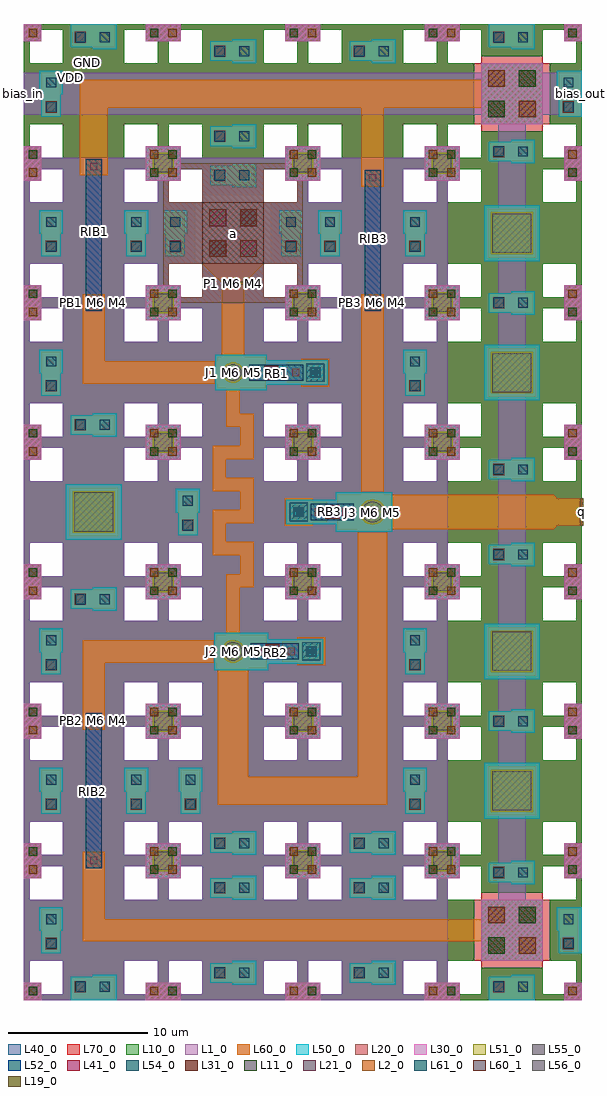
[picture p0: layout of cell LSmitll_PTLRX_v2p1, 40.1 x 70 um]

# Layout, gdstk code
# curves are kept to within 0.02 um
from math import pi, radians
import gdstk
lib = gdstk.Library(unit=1e-6, precision=1e-09)
def R(c, l, rs):  # rectangles x0, y0, x1, y1
    for r in rs: c.add(gdstk.rectangle(r[:2], r[2:], *l))
def P(c, l, *ps):  # polygons
    for p in ps: c.add(gdstk.Polygon(p, *l))
L1_0 = (1, 0)
L2_0 = (2, 0)
L10_0 = (10, 0)
L11_0 = (11, 0)
L19_0 = (19, 0)
L20_0 = (20, 0)
L21_0 = (21, 0)
L30_0 = (30, 0)
L31_0 = (31, 0)
L40_0 = (40, 0)
L41_0 = (41, 0)
L50_0 = (50, 0)
L51_0 = (51, 0)
L52_0 = (52, 0)
L54_0 = (54, 0)
L55_0 = (55, 0)
L56_0 = (56, 0)
L60_0 = (60, 0)
L60_1 = (60, 1)
L61_0 = (61, 0)
L70_0 = (70, 0)

ls_conn_m4m5m6m7 = lib.new_cell('ls_conn_M4M5M6M7')
R(ls_conn_m4m5m6m7, L40_0, [(0,0,1.4,1.4)])
R(ls_conn_m4m5m6m7, L41_0, [(0.3,0.3,1.1,1.1)])
P(ls_conn_m4m5m6m7, L50_0, [(1.6,-0.15),(1.6,0),(0,0),(0,1.4),(1.6,1.4),(1.6,1.55),(3.3,1.55),(3.3,-0.15)])
R(ls_conn_m4m5m6m7, L54_0, [(2.1,0.35,2.8,1.05)])
R(ls_conn_m4m5m6m7, L60_0, [(0,0,3.15,1.4)])
R(ls_conn_m4m5m6m7, L61_0, [(0.35,0.35,1.05,1.05)])
R(ls_conn_m4m5m6m7, L70_0, [(0,0,1.4,1.4)])

ls_conn_m5m6m7 = lib.new_cell('ls_conn_M5M6M7')
R(ls_conn_m5m6m7, L50_0, [(-0.5,-0.5,1.2,1.2)])
R(ls_conn_m5m6m7, L54_0, [(0,0,0.7,0.7)])
R(ls_conn_m5m6m7, L60_0, [(-0.65,-0.65,1.35,1.35)])
R(ls_conn_m5m6m7, L61_0, [(-0.3,-0.3,1,1)])
R(ls_conn_m5m6m7, L70_0, [(-0.65,-0.65,1.35,1.35)])

ls_jj_200_sg = lib.new_cell('ls_jj_200_sg')
R(ls_jj_200_sg, L41_0, [(-0.5,2.325,0.5,3.325)])
R(ls_jj_200_sg, L50_0, [(-1.35,-1.35,1.35,2.525), (-0.875,2.525,0.875,6.45)])
P(ls_jj_200_sg, L51_0, [(0,-0.815),(-0.315,-0.755),(-0.58,-0.575),(-0.755,-0.31),(-0.815,0),(-0.755,0.315),(-0.58,0.58),(-0.315,0.76),(0,0.82),(0.315,0.76),(0.58,0.58),(0.755,0.315),(0.815,0),(0.755,-0.31),(0.58,-0.575),(0.315,-0.755)])
R(ls_jj_200_sg, L52_0, [(-0.575,1.275,0.575,4.7)])
P(ls_jj_200_sg, L55_0, [(0,-0.67),(-0.27,-0.62),(-0.37,-0.56),(-0.57,-0.37),(-0.67,-0.13),(-0.67,0.13),(-0.57,0.37),(-0.27,0.61),(0,0.67),(0.27,0.61),(0.47,0.47),(0.57,0.37),(0.67,0.13),(0.67,-0.13),(0.57,-0.37),(0.27,-0.62)])
R(ls_jj_200_sg, L56_0, [(-0.26,1.54,0.26,2.06), (-0.26,3.91,0.26,4.43)])
R(ls_jj_200_sg, L60_0, [(-1.2,-1.2,1.2,2.425), (-0.725,3.525,0.725,6.3)])
ls_jj_200_sg.add(gdstk.Reference(ls_conn_m5m6m7, (-0.35,5.25)))

ls_fakejj_1p5x1p5um = lib.new_cell('ls_FakeJJ_1p5x1p5um')
R(ls_fakejj_1p5x1p5um, L40_0, [(-1.25,-1.25,1.25,1.25)])
R(ls_fakejj_1p5x1p5um, L50_0, [(-1.25,-1.25,1.25,1.25)])
R(ls_fakejj_1p5x1p5um, L51_0, [(-0.75,-0.75,0.75,0.75)])
R(ls_fakejj_1p5x1p5um, L55_0, [(-0.65,-0.65,0.65,0.65)])
R(ls_fakejj_1p5x1p5um, L60_0, [(-1,-1,1,1)])

ls_jj_162_sg = lib.new_cell('ls_jj_162_sg')
R(ls_jj_162_sg, L41_0, [(-0.5,2.25,0.5,3.25)])
R(ls_jj_162_sg, L50_0, [(-1.275,-1.275,1.275,2.425), (-0.875,2.425,0.875,6.775)])
P(ls_jj_162_sg, L51_0, [(0,-0.74),(-0.285,-0.685),(-0.52,-0.525),(-0.685,-0.285),(-0.74,0),(-0.685,0.28),(-0.52,0.52),(-0.285,0.68),(0,0.735),(0.285,0.68),(0.52,0.52),(0.685,0.28),(0.74,0),(0.685,-0.285),(0.52,-0.525),(0.285,-0.685)])
R(ls_jj_162_sg, L52_0, [(-0.575,1.175,0.575,5.025)])
R(ls_jj_162_sg, L54_0, [(-0.35,5.55,0.35,6.25)])
P(ls_jj_162_sg, L55_0, [(0,-0.59),(-0.23,-0.55),(-0.42,-0.42),(-0.54,-0.23),(-0.59,0),(-0.54,0.22),(-0.42,0.43),(-0.13,0.58),(0,0.59),(0.13,0.58),(0.42,0.43),(0.54,0.22),(0.59,0),(0.54,-0.23),(0.42,-0.42),(0.23,-0.55)])
R(ls_jj_162_sg, L56_0, [(-0.26,1.44,0.26,1.96), (-0.26,4.23,0.26,4.75)])
R(ls_jj_162_sg, L60_0, [(-1.125,-1.125,1.125,2.325), (-0.725,3.85,0.725,6.625)])
ls_jj_162_sg.add(gdstk.Reference(ls_conn_m5m6m7, (-0.35,5.55)))

ls_jj_250_sg = lib.new_cell('ls_jj_250_sg')
R(ls_jj_250_sg, L41_0, [(-0.5,2.4,0.5,3.4)])
R(ls_jj_250_sg, L50_0, [(-1.425,-1.425,1.425,2.625), (-0.875,2.625,0.875,6.175)])
P(ls_jj_250_sg, L51_0, [(0,-0.91),(-0.18,-0.895),(-0.35,-0.84),(-0.645,-0.645),(-0.84,-0.35),(-0.91,0),(-0.895,0.18),(-0.84,0.35),(-0.645,0.645),(-0.35,0.84),(-0.18,0.895),(0,0.91),(0.18,0.895),(0.35,0.84),(0.645,0.645),(0.84,0.35),(0.895,0.18),(0.91,0),(0.84,-0.35),(0.645,-0.645),(0.35,-0.84),(0.18,-0.895)])
R(ls_jj_250_sg, L52_0, [(-0.575,1.35,0.575,4.425)])
R(ls_jj_250_sg, L54_0, [(-0.35,4.95,0.35,5.65)])
P(ls_jj_250_sg, L55_0, [(0,-0.76),(-0.15,-0.75),(-0.29,-0.7),(-0.54,-0.54),(-0.7,-0.29),(-0.75,-0.15),(-0.76,0),(-0.75,0.15),(-0.7,0.29),(-0.54,0.54),(-0.29,0.7),(-0.15,0.75),(0,0.76),(0.15,0.75),(0.29,0.7),(0.54,0.54),(0.7,0.29),(0.75,0.15),(0.76,0),(0.75,-0.15),(0.7,-0.29),(0.54,-0.54),(0.29,-0.7),(0.15,-0.75)])
R(ls_jj_250_sg, L56_0, [(-0.26,1.64,0.26,2.16), (-0.26,3.63,0.26,4.15)])
R(ls_jj_250_sg, L60_0, [(-1.275,-1.275,1.275,2.525), (-0.725,3.25,0.725,6.025)])
ls_jj_250_sg.add(gdstk.Reference(ls_conn_m5m6m7, (-0.35,4.95)))

ls_tr_m0 = lib.new_cell('ls_tr_M0')
P(ls_tr_m0, L1_0, [(0,0),(0,10),(1.25,10),(1.25,8.75),(0.4,8.75),(0.4,1.25),(1.25,1.25),(1.25,0.4),(2.8,0.4),(2.8,2.8),(0.4,2.8),(0.4,7.2),(2.8,7.2),(2.8,9.6),(1.25,9.6),(1.25,10),(7.2,10),(7.2,0.4),(8.75,0.4),(8.75,1.25),(9.6,1.25),(9.6,2.8),(7.2,2.8),(7.2,7.2),(9.6,7.2),(9.6,8.75),(8.75,8.75),(8.75,9.6),(7.2,9.6),(7.2,10),(10,10),(10,0)])

ls_fakejj_3umx3um = lib.new_cell('ls_FakeJJ_3umx3um')
R(ls_fakejj_3umx3um, L40_0, [(-2,-2,2,2)])
R(ls_fakejj_3umx3um, L50_0, [(-2,-2,2,2)])
R(ls_fakejj_3umx3um, L51_0, [(-1.5,-1.5,1.5,1.5)])
R(ls_fakejj_3umx3um, L55_0, [(-1.4,-1.4,1.4,1.4)])
R(ls_fakejj_3umx3um, L60_0, [(-1.75,-1.75,1.75,1.75)])

ls_tr_m7 = lib.new_cell('ls_tr_M7')
P(ls_tr_m7, L70_0, [(0,0),(0,10),(1.25,10),(1.25,8.75),(0.4,8.75),(0.4,1.25),(1.25,1.25),(1.25,0.4),(2.8,0.4),(2.8,2.8),(0.4,2.8),(0.4,7.2),(2.8,7.2),(2.8,9.6),(1.25,9.6),(1.25,10),(7.2,10),(7.2,0.4),(8.75,0.4),(8.75,1.25),(9.6,1.25),(9.6,2.8),(7.2,2.8),(7.2,7.2),(9.6,7.2),(9.6,8.75),(8.75,8.75),(8.75,9.6),(7.2,9.6),(7.2,10),(10,10),(10,0)])

ls_tr_u_m4_alt = lib.new_cell('ls_tr_u_M4_alt')
R(ls_tr_u_m4_alt, L1_0, [(0,0,1.25,1.25), (8.75,0,10,1.25), (0,8.75,1.25,10), (8.75,8.75,10,10)])
R(ls_tr_u_m4_alt, L2_0, [(9.05,0.35,9.65,0.95), (0.35,9.05,0.95,9.65)])
R(ls_tr_u_m4_alt, L10_0, [(0,0,1.25,1.25), (1.25,0,8.75,0.4), (8.75,0,10,1.25), (2.8,0.4,7.2,9.6), (0,1.25,0.4,8.75), (9.6,1.25,10,8.75), (0.4,2.8,2.8,7.2), (7.2,2.8,9.6,7.2), (0,8.75,1.25,10), (8.75,8.75,10,10), (1.25,9.6,8.75,10)])
R(ls_tr_u_m4_alt, L11_0, [(0.35,0.35,0.95,0.95), (9.05,9.05,9.65,9.65)])
R(ls_tr_u_m4_alt, L20_0, [(0,0,1.25,1.25), (8.75,0,10,1.25), (0,8.75,1.25,10), (8.75,8.75,10,10)])
R(ls_tr_u_m4_alt, L21_0, [(9.05,0.35,9.65,0.95), (0.35,9.05,0.95,9.65)])
R(ls_tr_u_m4_alt, L30_0, [(0,0,1.25,1.25), (8.75,0,10,1.25), (0,8.75,1.25,10), (8.75,8.75,10,10)])
R(ls_tr_u_m4_alt, L31_0, [(0.35,0.35,0.95,0.95), (9.05,9.05,9.65,9.65)])
P(ls_tr_u_m4_alt, L40_0, [(0,0),(0,10),(1.25,10),(1.25,8.75),(0.4,8.75),(0.4,1.25),(1.25,1.25),(1.25,0.4),(2.8,0.4),(2.8,2.8),(0.4,2.8),(0.4,7.2),(2.8,7.2),(2.8,9.6),(1.25,9.6),(1.25,10),(7.2,10),(7.2,0.4),(8.75,0.4),(8.75,1.25),(9.6,1.25),(9.6,2.8),(7.2,2.8),(7.2,7.2),(9.6,7.2),(9.6,8.75),(8.75,8.75),(8.75,9.6),(7.2,9.6),(7.2,10),(10,10),(10,0)])
ls_tr_u_m4_alt.add(gdstk.Reference(ls_tr_m7, (0,0)))

ls_tr_bias_pillar_m0m6 = lib.new_cell('ls_tr_bias_pillar_M0M6')
R(ls_tr_bias_pillar_m0m6, L1_0, [(0,0,1.25,1.25), (8.75,0,10,1.25), (2.8,2.8,7.2,7.2), (0,8.75,1.25,10), (8.75,8.75,10,10)])
R(ls_tr_bias_pillar_m0m6, L2_0, [(9.05,0.35,9.65,0.95), (5.5,3.3,6.7,4.5), (3.3,5.5,4.5,6.7), (0.35,9.05,0.95,9.65)])
R(ls_tr_bias_pillar_m0m6, L10_0, [(0,0,1.25,1.25), (8.75,0,10,1.25), (2.8,2.8,7.2,7.2), (0,8.75,1.25,10), (8.75,8.75,10,10)])
P(ls_tr_bias_pillar_m0m6, L10_0, [(0,0),(0,10),(7.2,10),(7.2,7.7),(2.8,7.7),(2.8,9.6),(1.25,9.6),(1.25,8.75),(0.4,8.75),(0.4,7.2),(2.3,7.2),(2.3,2.8),(0.4,2.8),(0.4,1.25),(1.25,1.25),(1.25,0.4),(2.8,0.4),(2.8,2.3),(7.2,2.3),(7.2,0.4),(8.75,0.4),(8.75,1.25),(9.6,1.25),(9.6,2.8),(7.7,2.8),(7.7,7.2),(9.6,7.2),(9.6,8.75),(8.75,8.75),(8.75,9.6),(7.2,9.6),(7.2,10),(10,10),(10,0)])
R(ls_tr_bias_pillar_m0m6, L11_0, [(0.35,0.35,0.95,0.95), (3.3,3.3,4.5,4.5), (5.5,5.5,6.7,6.7), (9.05,9.05,9.65,9.65)])
R(ls_tr_bias_pillar_m0m6, L20_0, [(0,0,1.25,1.25), (8.75,0,10,1.25), (2.8,2.8,7.2,7.2), (0,8.75,1.25,10), (8.75,8.75,10,10)])
R(ls_tr_bias_pillar_m0m6, L21_0, [(9.05,0.35,9.65,0.95), (5.5,3.3,6.7,4.5), (3.3,5.5,4.5,6.7), (0.35,9.05,0.95,9.65)])
R(ls_tr_bias_pillar_m0m6, L30_0, [(0,0,1.25,1.25), (8.75,0,10,1.25), (2.8,2.8,7.2,7.2), (0,8.75,1.25,10), (8.75,8.75,10,10)])
R(ls_tr_bias_pillar_m0m6, L31_0, [(0.35,0.35,0.95,0.95), (3.3,3.3,4.5,4.5), (5.5,5.5,6.7,6.7), (9.05,9.05,9.65,9.65)])
R(ls_tr_bias_pillar_m0m6, L40_0, [(2.8,2.8,7.2,7.2)])
P(ls_tr_bias_pillar_m0m6, L40_0, [(0,0),(0,10),(7.2,10),(7.2,7.7),(2.8,7.7),(2.8,9.6),(1.25,9.6),(1.25,8.75),(0.4,8.75),(0.4,7.2),(2.3,7.2),(2.3,2.8),(0.4,2.8),(0.4,1.25),(1.25,1.25),(1.25,0.4),(2.8,0.4),(2.8,2.3),(7.2,2.3),(7.2,0.4),(8.75,0.4),(8.75,1.25),(9.6,1.25),(9.6,2.8),(7.7,2.8),(7.7,7.2),(9.6,7.2),(9.6,8.75),(8.75,8.75),(8.75,9.6),(7.2,9.6),(7.2,10),(10,10),(10,0)])
R(ls_tr_bias_pillar_m0m6, L41_0, [(5.5,3.3,6.7,4.5), (3.3,5.5,4.5,6.7)])
R(ls_tr_bias_pillar_m0m6, L50_0, [(2.8,2.8,7.2,7.2)])
R(ls_tr_bias_pillar_m0m6, L54_0, [(3.3,3.3,4.5,4.5), (5.5,5.5,6.7,6.7)])
R(ls_tr_bias_pillar_m0m6, L60_0, [(2.8,2.8,7.2,7.2)])
P(ls_tr_bias_pillar_m0m6, L70_0, [(0,0),(0,10),(1.25,10),(1.25,8.75),(0.4,8.75),(0.4,1.25),(1.25,1.25),(1.25,0.4),(2.8,0.4),(2.8,2.8),(0.4,2.8),(0.4,7.2),(2.8,7.2),(2.8,9.6),(1.25,9.6),(1.25,10),(7.2,10),(7.2,0.4),(8.75,0.4),(8.75,1.25),(9.6,1.25),(9.6,2.8),(7.2,2.8),(7.2,7.2),(9.6,7.2),(9.6,8.75),(8.75,8.75),(8.75,9.6),(7.2,9.6),(7.2,10),(10,10),(10,0)])

ls_ib_175 = lib.new_cell('ls_ib_175')
R(ls_ib_175, L52_0, [(-0.575,0,0.575,10.05)])
R(ls_ib_175, L56_0, [(-0.26,0.29,0.26,0.81), (-0.26,9.26,0.26,9.78)])
R(ls_ib_175, L60_0, [(-0.625,-0.1,0.625,1.175), (-0.625,8.875,0.625,10.15)])

ls_tr_ptlconnection = lib.new_cell('ls_tr_PTLconnection')
P(ls_tr_ptlconnection, L1_0, [(0,0),(0,10),(1.25,10),(1.25,8.75),(0.4,8.75),(0.4,1.25),(1.25,1.25),(1.25,0.4),(2.8,0.4),(2.8,2.8),(0.4,2.8),(0.4,7.2),(2.8,7.2),(2.8,9.6),(1.25,9.6),(1.25,10),(7.2,10),(7.2,0.4),(8.75,0.4),(8.75,1.25),(9.6,1.25),(9.6,2.8),(7.2,2.8),(7.2,7.2),(9.6,7.2),(9.6,8.75),(8.75,8.75),(8.75,9.6),(7.2,9.6),(7.2,10),(10,10),(10,0)])
R(ls_tr_ptlconnection, L2_0, [(9.05,0.35,9.65,0.95), (0.35,9.05,0.95,9.65)])
R(ls_tr_ptlconnection, L10_0, [(0,0,1.25,1.25), (1.25,0,8.75,0.4), (8.75,0,10,1.25), (2.8,0.4,7.2,9.6), (0,1.25,0.4,8.75), (9.6,1.25,10,8.75), (0.4,2.8,2.8,7.2), (7.2,2.8,9.6,7.2), (0,8.75,1.25,10), (8.75,8.75,10,10), (1.25,9.6,8.75,10)])
R(ls_tr_ptlconnection, L11_0, [(0.35,0.35,0.95,0.95), (9.05,9.05,9.65,9.65)])
P(ls_tr_ptlconnection, L20_0, [(0,0),(0,10),(1.25,10),(1.25,8.75),(0.4,8.75),(0.4,7.2),(2.3,7.2),(2.3,2.8),(0.4,2.8),(0.4,1.25),(1.25,1.25),(1.25,0.4),(2.8,0.4),(2.8,2.8),(2.3,2.8),(2.3,7.2),(2.8,7.2),(2.8,9.6),(1.25,9.6),(1.25,10),(7.2,10),(7.2,7.2),(7.7,7.2),(7.7,2.8),(7.2,2.8),(7.2,0.4),(8.75,0.4),(8.75,1.25),(9.6,1.25),(9.6,2.8),(7.7,2.8),(7.7,7.2),(9.6,7.2),(9.6,8.75),(8.75,8.75),(8.75,9.6),(7.2,9.6),(7.2,10),(10,10),(10,0)])
R(ls_tr_ptlconnection, L21_0, [(9.05,0.35,9.65,0.95), (0.35,9.05,0.95,9.65)])
R(ls_tr_ptlconnection, L30_0, [(0,0,1.25,1.25), (8.75,0,10,1.25), (2.8,2.8,7.2,7.2), (0,8.75,1.25,10), (8.75,8.75,10,10)])
R(ls_tr_ptlconnection, L31_0, [(0.35,0.35,0.95,0.95), (3.3,3.3,4.5,4.5), (5.5,5.5,6.7,6.7), (9.05,9.05,9.65,9.65)])
R(ls_tr_ptlconnection, L40_0, [(2.8,2.8,7.2,7.2)])
P(ls_tr_ptlconnection, L40_0, [(0,0),(0,10),(7.2,10),(7.2,7.7),(2.8,7.7),(2.8,9.6),(1.25,9.6),(1.25,8.75),(0.4,8.75),(0.4,7.2),(2.3,7.2),(2.3,2.8),(0.4,2.8),(0.4,1.25),(1.25,1.25),(1.25,0.4),(2.8,0.4),(2.8,2.3),(7.2,2.3),(7.2,0.4),(8.75,0.4),(8.75,1.25),(9.6,1.25),(9.6,2.8),(7.7,2.8),(7.7,7.2),(9.6,7.2),(9.6,8.75),(8.75,8.75),(8.75,9.6),(7.2,9.6),(7.2,10),(10,10),(10,0)])
R(ls_tr_ptlconnection, L41_0, [(5.5,3.3,6.7,4.5), (3.3,5.5,4.5,6.7)])
R(ls_tr_ptlconnection, L50_0, [(2.8,2.8,7.2,7.2)])
R(ls_tr_ptlconnection, L54_0, [(3.3,3.3,4.5,4.5), (5.5,5.5,6.7,6.7)])
R(ls_tr_ptlconnection, L60_0, [(2.8,2.8,7.2,7.2)])
P(ls_tr_ptlconnection, L70_0, [(0,0),(0,10),(1.25,10),(1.25,8.75),(0.4,8.75),(0.4,1.25),(1.25,1.25),(1.25,0.4),(2.8,0.4),(2.8,2.8),(0.4,2.8),(0.4,7.2),(2.8,7.2),(2.8,9.6),(1.25,9.6),(1.25,10),(7.2,10),(7.2,0.4),(8.75,0.4),(8.75,1.25),(9.6,1.25),(9.6,2.8),(7.2,2.8),(7.2,7.2),(9.6,7.2),(9.6,8.75),(8.75,8.75),(8.75,9.6),(7.2,9.6),(7.2,10),(10,10),(10,0)])

ls_ib_160 = lib.new_cell('ls_ib_160')
R(ls_ib_160, L52_0, [(-0.575,0,0.575,10.85)])
R(ls_ib_160, L56_0, [(-0.26,0.29,0.26,0.81), (-0.26,10.07,0.26,10.59)])
R(ls_ib_160, L60_0, [(-0.625,-0.1,0.625,1.175), (-0.625,9.7,0.625,10.95)])

ls_ib_141 = lib.new_cell('ls_ib_141')
R(ls_ib_141, L52_0, [(-0.575,0,0.575,11.125)])
R(ls_ib_141, L56_0, [(-0.26,0.29,0.26,0.81), (-0.26,10.33,0.26,10.85)])
R(ls_ib_141, L60_0, [(-0.625,-0.1,0.625,1.175), (-0.625,9.95,0.625,11.225)])

lsmitll_ptlrx_v2p1 = lib.new_cell('LSmitll_PTLRX_v2p1')
R(lsmitll_ptlrx_v2p1, L1_0, [(30,1.25,30.4,60), (0,60,30,60.4)])
R(lsmitll_ptlrx_v2p1, L19_0, [(4.74,19.78,5.26,20.3), (4.74,49.74,5.26,50.26), (24.74,49.74,25.26,50.26)])
R(lsmitll_ptlrx_v2p1, L50_0, [(3.35,0,6.65,0.25), (33.35,0,36.65,0.25), (39.75,3.35,40,6.65), (39.75,63.35,40,66.65), (3.35,69.75,6.65,70), (33.35,69.75,36.65,70)])
R(lsmitll_ptlrx_v2p1, L60_0, [(3.35,0,6.5,0.25), (33.35,0,36.5,0.25), (39.75,63.35,40,66.5), (3.35,69.75,6.5,70), (33.35,69.75,36.5,70)])
P(lsmitll_ptlrx_v2p1, L60_0, [(15,50.6),(12.8,52.8),(17.2,52.8)],
  [(38,33.75),(38,36.25),(38.25,36),(38.25,34)])
R(lsmitll_ptlrx_v2p1, L60_1, [(12.8,52.8,17.2,57.2)])
lsmitll_ptlrx_v2p1.add(gdstk.FlexPath([(38,35),(26.275,35)], 2.5, ends="flush", simple_path=True, layer=60, datatype=0))  # L60_0
lsmitll_ptlrx_v2p1.add(gdstk.FlexPath([(15,52.8),(15,46.125)], 1.6, ends="flush", simple_path=True, layer=60, datatype=0))  # L60_0
lsmitll_ptlrx_v2p1.add(gdstk.FlexPath([(40,35),(38,35)], 2, ends="flush", simple_path=True, layer=60, datatype=0))  # L60_0
lsmitll_ptlrx_v2p1.add(gdstk.FlexPath([(15,23.8),(15,14)], 2.2, ends="flush", simple_path=True, layer=60, datatype=0))  # L60_0
lsmitll_ptlrx_v2p1.add(gdstk.FlexPath([(15,15),(26,15)], 2, ends="flush", simple_path=True, layer=60, datatype=0))  # L60_0
lsmitll_ptlrx_v2p1.add(gdstk.FlexPath([(25,14),(25,33.725)], 2.1, ends="flush", simple_path=True, layer=60, datatype=0))  # L60_0
lsmitll_ptlrx_v2p1.add(gdstk.FlexPath([(13.875,45),(5,45),(5,50.625)], 1.6, ends="flush", simple_path=True, layer=60, datatype=0))  # L60_0
lsmitll_ptlrx_v2p1.add(gdstk.FlexPath([(35,65),(5,65),(5,59.15)], 2, ends="flush", simple_path=True, layer=60, datatype=0))  # L60_0
lsmitll_ptlrx_v2p1.add(gdstk.FlexPath([(25,58.325),(25,64)], 1.6, ends="flush", simple_path=True, layer=60, datatype=0))  # L60_0
lsmitll_ptlrx_v2p1.add(gdstk.FlexPath([(25,36.275),(25,50.625)], 1.6, ends="flush", simple_path=True, layer=60, datatype=0))  # L60_0
lsmitll_ptlrx_v2p1.add(gdstk.FlexPath([(13.8,25),(5,25),(5,19.4)], 1.6, ends="flush", simple_path=True, layer=60, datatype=0))  # L60_0
lsmitll_ptlrx_v2p1.add(gdstk.FlexPath([(5,10.625),(5,5),(35,5)], 1.6, ends="flush", simple_path=True, layer=60, datatype=0))  # L60_0
lsmitll_ptlrx_v2p1.add(gdstk.FlexPath([(15,43.875),(15,41.575),(16,41.575),(16,39.275),(14,39.275),(14,36.975),(16,36.975),(16,34.675),(14,34.675),(14,32.375),(16,32.375),(16,30.075),(15,30.075),(15,26.2)], 0.95, ends="flush", simple_path=True, layer=60, datatype=0))  # L60_0
lsmitll_ptlrx_v2p1.add(gdstk.FlexPath([(0,65),(40,65)], 3, ends="flush", simple_path=True, layer=1, datatype=0))  # L1_0
lsmitll_ptlrx_v2p1.add(gdstk.FlexPath([(35,65),(35,5)], 2, ends="flush", simple_path=True, layer=1, datatype=0))  # L1_0
lsmitll_ptlrx_v2p1.add(gdstk.FlexPath([(40,36),(40,34)], 0.2, ends="flush", simple_path=True, layer=19, datatype=0))  # L19_0
lsmitll_ptlrx_v2p1.add(gdstk.FlexPath([(14.2,51.4),(15.8,51.4)], 0.2, ends="flush", simple_path=True, layer=19, datatype=0))  # L19_0
lsmitll_ptlrx_v2p1.add(gdstk.Reference(ls_conn_m4m5m6m7, (12.45,33.35), rotation=pi/2))
lsmitll_ptlrx_v2p1.add(gdstk.Reference(ls_jj_200_sg, (15,25), rotation=3*pi/2))
lsmitll_ptlrx_v2p1.add(gdstk.Reference(ls_fakejj_1p5x1p5um, (20,60)))
lsmitll_ptlrx_v2p1.add(gdstk.Reference(ls_fakejj_1p5x1p5um, (20,50)))
lsmitll_ptlrx_v2p1.add(gdstk.Reference(ls_fakejj_1p5x1p5um, (20,20)))
lsmitll_ptlrx_v2p1.add(gdstk.Reference(ls_fakejj_1p5x1p5um, (20,10)))
lsmitll_ptlrx_v2p1.add(gdstk.Reference(ls_fakejj_1p5x1p5um, (20,30)))
lsmitll_ptlrx_v2p1.add(gdstk.Reference(ls_fakejj_1p5x1p5um, (20,40)))
lsmitll_ptlrx_v2p1.add(gdstk.Reference(ls_jj_162_sg, (15,45), rotation=3*pi/2))
lsmitll_ptlrx_v2p1.add(gdstk.Reference(ls_jj_250_sg, (25,35), rotation=pi/2))
lsmitll_ptlrx_v2p1.add(gdstk.Reference(ls_tr_m0, (0,30)))
lsmitll_ptlrx_v2p1.add(gdstk.Reference(ls_tr_m0, (10,30)))
lsmitll_ptlrx_v2p1.add(gdstk.Reference(ls_tr_m0, (20,30)))
lsmitll_ptlrx_v2p1.add(gdstk.Reference(ls_fakejj_3umx3um, (5,35)))
lsmitll_ptlrx_v2p1.add(gdstk.Reference(ls_tr_u_m4_alt, (30,30)))
lsmitll_ptlrx_v2p1.add(gdstk.Reference(ls_tr_u_m4_alt, (20,30)))
lsmitll_ptlrx_v2p1.add(gdstk.Reference(ls_tr_u_m4_alt, (10,30)))
lsmitll_ptlrx_v2p1.add(gdstk.Reference(ls_tr_u_m4_alt, (0,30)))
lsmitll_ptlrx_v2p1.add(gdstk.Reference(ls_conn_m4m5m6m7, (39.75,63.35), rotation=pi/2))
lsmitll_ptlrx_v2p1.add(gdstk.Reference(ls_conn_m4m5m6m7, (28.75,43.35), rotation=pi/2))
lsmitll_ptlrx_v2p1.add(gdstk.Reference(ls_conn_m4m5m6m7, (22.65,53.35), rotation=pi/2))
lsmitll_ptlrx_v2p1.add(gdstk.Reference(ls_tr_bias_pillar_m0m6, (30,60)))
lsmitll_ptlrx_v2p1.add(gdstk.Reference(ls_conn_m4m5m6m7, (23.35,67.35)))
lsmitll_ptlrx_v2p1.add(gdstk.Reference(ls_ib_175, (25,49.45)))
lsmitll_ptlrx_v2p1.add(gdstk.Reference(ls_fakejj_1p5x1p5um, (30,60)))
lsmitll_ptlrx_v2p1.add(gdstk.Reference(ls_tr_m0, (20,50)))
lsmitll_ptlrx_v2p1.add(gdstk.Reference(ls_tr_m0, (20,40)))
lsmitll_ptlrx_v2p1.add(gdstk.Reference(ls_conn_m4m5m6m7, (33.35,68.35)))
lsmitll_ptlrx_v2p1.add(gdstk.Reference(ls_conn_m4m5m6m7, (33.35,60.15)))
lsmitll_ptlrx_v2p1.add(gdstk.Reference(ls_fakejj_3umx3um, (35,55)))
lsmitll_ptlrx_v2p1.add(gdstk.Reference(ls_fakejj_3umx3um, (35,45)))
lsmitll_ptlrx_v2p1.add(gdstk.Reference(ls_fakejj_1p5x1p5um, (30,50)))
lsmitll_ptlrx_v2p1.add(gdstk.Reference(ls_fakejj_1p5x1p5um, (30,40)))
lsmitll_ptlrx_v2p1.add(gdstk.Reference(ls_conn_m4m5m6m7, (33.35,37.35)))
lsmitll_ptlrx_v2p1.add(gdstk.Reference(ls_conn_m4m5m6m7, (33.35,49.3)))
lsmitll_ptlrx_v2p1.add(gdstk.Reference(ls_conn_m4m5m6m7, (28.75,53.35), rotation=pi/2))
lsmitll_ptlrx_v2p1.add(gdstk.Reference(ls_tr_u_m4_alt, (20,40)))
lsmitll_ptlrx_v2p1.add(gdstk.Reference(ls_tr_u_m4_alt, (30,40)))
lsmitll_ptlrx_v2p1.add(gdstk.Reference(ls_tr_u_m4_alt, (30,50)))
lsmitll_ptlrx_v2p1.add(gdstk.Reference(ls_tr_u_m4_alt, (20,50)))
lsmitll_ptlrx_v2p1.add(gdstk.Reference(ls_tr_u_m4_alt, (20,60)))
lsmitll_ptlrx_v2p1.add(gdstk.Reference(ls_tr_m0, (0,40)))
lsmitll_ptlrx_v2p1.add(gdstk.Reference(ls_tr_m0, (0,50)))
lsmitll_ptlrx_v2p1.add(gdstk.Reference(ls_conn_m4m5m6m7, (2.65,53.35), rotation=pi/2))
lsmitll_ptlrx_v2p1.add(gdstk.Reference(ls_tr_m0, (10,40)))
lsmitll_ptlrx_v2p1.add(gdstk.Reference(ls_conn_m4m5m6m7, (8.75,53.35), rotation=pi/2))
lsmitll_ptlrx_v2p1.add(gdstk.Reference(ls_conn_m4m5m6m7, (11.55,53.35), rotation=pi/2))
lsmitll_ptlrx_v2p1.add(gdstk.Reference(ls_tr_ptlconnection, (10,50)))
lsmitll_ptlrx_v2p1.add(gdstk.Reference(ls_conn_m4m5m6m7, (19.85,53.35), rotation=pi/2))
lsmitll_ptlrx_v2p1.add(gdstk.Reference(ls_conn_m4m5m6m7, (13.35,67.35)))
lsmitll_ptlrx_v2p1.add(gdstk.Reference(ls_conn_m4m5m6m7, (3.35,68.35)))
lsmitll_ptlrx_v2p1.add(gdstk.Reference(ls_conn_m4m5m6m7, (2.65,63.35), rotation=pi/2))
lsmitll_ptlrx_v2p1.add(gdstk.Reference(ls_conn_m4m5m6m7, (2.65,43.35), rotation=pi/2))
lsmitll_ptlrx_v2p1.add(gdstk.Reference(ls_fakejj_1p5x1p5um, (10,40)))
lsmitll_ptlrx_v2p1.add(gdstk.Reference(ls_fakejj_1p5x1p5um, (10,50)))
lsmitll_ptlrx_v2p1.add(gdstk.Reference(ls_tr_u_m4_alt, (0,40)))
lsmitll_ptlrx_v2p1.add(gdstk.Reference(ls_tr_u_m4_alt, (10,40)))
lsmitll_ptlrx_v2p1.add(gdstk.Reference(ls_fakejj_1p5x1p5um, (10,60)))
lsmitll_ptlrx_v2p1.add(gdstk.Reference(ls_conn_m4m5m6m7, (3.35,40.55)))
lsmitll_ptlrx_v2p1.add(gdstk.Reference(ls_ib_160, (5,49.45)))
lsmitll_ptlrx_v2p1.add(gdstk.Reference(ls_conn_m4m5m6m7, (13.35,58.45)))
lsmitll_ptlrx_v2p1.add(gdstk.Reference(ls_tr_u_m4_alt, (0,50)))
lsmitll_ptlrx_v2p1.add(gdstk.Reference(ls_tr_u_m4_alt, (0,60)))
lsmitll_ptlrx_v2p1.add(gdstk.Reference(ls_tr_u_m4_alt, (10,60)))
lsmitll_ptlrx_v2p1.add(gdstk.Reference(ls_conn_m4m5m6m7, (13.35,61.25)))
lsmitll_ptlrx_v2p1.add(gdstk.Reference(ls_tr_m0, (10,10)))
lsmitll_ptlrx_v2p1.add(gdstk.Reference(ls_tr_m0, (10,0)))
lsmitll_ptlrx_v2p1.add(gdstk.Reference(ls_fakejj_1p5x1p5um, (10,20)))
lsmitll_ptlrx_v2p1.add(gdstk.Reference(ls_conn_m4m5m6m7, (13.35,7.35)))
lsmitll_ptlrx_v2p1.add(gdstk.Reference(ls_conn_m4m5m6m7, (13.35,10.55)))
lsmitll_ptlrx_v2p1.add(gdstk.Reference(ls_conn_m4m5m6m7, (13.35,1.25)))
lsmitll_ptlrx_v2p1.add(gdstk.Reference(ls_tr_u_m4_alt, (0,0)))
lsmitll_ptlrx_v2p1.add(gdstk.Reference(ls_tr_u_m4_alt, (10,0)))
lsmitll_ptlrx_v2p1.add(gdstk.Reference(ls_tr_u_m4_alt, (0,10)))
lsmitll_ptlrx_v2p1.add(gdstk.Reference(ls_tr_u_m4_alt, (10,10)))
lsmitll_ptlrx_v2p1.add(gdstk.Reference(ls_tr_u_m4_alt, (0,20)))
lsmitll_ptlrx_v2p1.add(gdstk.Reference(ls_tr_u_m4_alt, (10,20)))
lsmitll_ptlrx_v2p1.add(gdstk.Reference(ls_ib_141, (5,9.45)))
lsmitll_ptlrx_v2p1.add(gdstk.Reference(ls_conn_m4m5m6m7, (2.65,3.35), rotation=pi/2))
lsmitll_ptlrx_v2p1.add(gdstk.Reference(ls_conn_m4m5m6m7, (2.65,23.35), rotation=pi/2))
lsmitll_ptlrx_v2p1.add(gdstk.Reference(ls_tr_m0, (0,0)))
lsmitll_ptlrx_v2p1.add(gdstk.Reference(ls_tr_m0, (0,10)))
lsmitll_ptlrx_v2p1.add(gdstk.Reference(ls_tr_m0, (0,20)))
lsmitll_ptlrx_v2p1.add(gdstk.Reference(ls_conn_m4m5m6m7, (2.65,13.35), rotation=pi/2))
lsmitll_ptlrx_v2p1.add(gdstk.Reference(ls_conn_m4m5m6m7, (8.75,13.35), rotation=pi/2))
lsmitll_ptlrx_v2p1.add(gdstk.Reference(ls_conn_m4m5m6m7, (12.65,13.35), rotation=pi/2))
lsmitll_ptlrx_v2p1.add(gdstk.Reference(ls_conn_m4m5m6m7, (3.35,28.05)))
lsmitll_ptlrx_v2p1.add(gdstk.Reference(ls_conn_m4m5m6m7, (3.35,0.25)))
lsmitll_ptlrx_v2p1.add(gdstk.Reference(ls_fakejj_1p5x1p5um, (10,30)))
lsmitll_ptlrx_v2p1.add(gdstk.Reference(ls_fakejj_1p5x1p5um, (10,10)))
lsmitll_ptlrx_v2p1.add(gdstk.Reference(ls_tr_m0, (10,20)))
lsmitll_ptlrx_v2p1.add(gdstk.Reference(ls_conn_m4m5m6m7, (33.35,0.25)))
lsmitll_ptlrx_v2p1.add(gdstk.Reference(ls_tr_u_m4_alt, (20,0)))
lsmitll_ptlrx_v2p1.add(gdstk.Reference(ls_tr_u_m4_alt, (30,10)))
lsmitll_ptlrx_v2p1.add(gdstk.Reference(ls_tr_u_m4_alt, (20,10)))
lsmitll_ptlrx_v2p1.add(gdstk.Reference(ls_fakejj_1p5x1p5um, (30,30)))
lsmitll_ptlrx_v2p1.add(gdstk.Reference(ls_conn_m4m5m6m7, (33.35,19.3)))
lsmitll_ptlrx_v2p1.add(gdstk.Reference(ls_fakejj_1p5x1p5um, (30,20)))
lsmitll_ptlrx_v2p1.add(gdstk.Reference(ls_conn_m4m5m6m7, (23.35,1.25)))
lsmitll_ptlrx_v2p1.add(gdstk.Reference(ls_tr_u_m4_alt, (20,20)))
lsmitll_ptlrx_v2p1.add(gdstk.Reference(ls_tr_u_m4_alt, (30,20)))
lsmitll_ptlrx_v2p1.add(gdstk.Reference(ls_conn_m4m5m6m7, (39.75,3.35), rotation=pi/2))
lsmitll_ptlrx_v2p1.add(gdstk.Reference(ls_fakejj_1p5x1p5um, (30,10)))
lsmitll_ptlrx_v2p1.add(gdstk.Reference(ls_conn_m4m5m6m7, (23.35,10.55)))
lsmitll_ptlrx_v2p1.add(gdstk.Reference(ls_tr_bias_pillar_m0m6, (30,0)))
lsmitll_ptlrx_v2p1.add(gdstk.Reference(ls_tr_m0, (20,0)))
lsmitll_ptlrx_v2p1.add(gdstk.Reference(ls_tr_m0, (20,10)))
lsmitll_ptlrx_v2p1.add(gdstk.Reference(ls_tr_m0, (20,20)))
lsmitll_ptlrx_v2p1.add(gdstk.Reference(ls_conn_m4m5m6m7, (28.75,13.35), rotation=pi/2))
lsmitll_ptlrx_v2p1.add(gdstk.Reference(ls_conn_m4m5m6m7, (28.75,23.35), rotation=pi/2))
lsmitll_ptlrx_v2p1.add(gdstk.Reference(ls_conn_m4m5m6m7, (23.35,7.35)))
lsmitll_ptlrx_v2p1.add(gdstk.Reference(ls_fakejj_3umx3um, (35,25)))
lsmitll_ptlrx_v2p1.add(gdstk.Reference(ls_fakejj_3umx3um, (35,15)))
lsmitll_ptlrx_v2p1.add(gdstk.Reference(ls_conn_m4m5m6m7, (33.35,31.25)))
lsmitll_ptlrx_v2p1.add(gdstk.Reference(ls_conn_m4m5m6m7, (33.35,8.45)))
lsmitll_ptlrx_v2p1.add(gdstk.Label('q', (40,35.025), layer=182, texttype=0))
lsmitll_ptlrx_v2p1.add(gdstk.Label('P2 M6 M4', (40,35), layer=182, texttype=0))
lsmitll_ptlrx_v2p1.add(gdstk.Label('P1 M6 M4', (15,51.4), layer=182, texttype=0))
lsmitll_ptlrx_v2p1.add(gdstk.Label('J1 M6 M5', (15,45), layer=182, texttype=0))
lsmitll_ptlrx_v2p1.add(gdstk.Label('PB1 M6 M4', (5,50), layer=182, texttype=0))
lsmitll_ptlrx_v2p1.add(gdstk.Label('J2 M6 M5', (15,25), layer=182, texttype=0))
lsmitll_ptlrx_v2p1.add(gdstk.Label('PB2 M6 M4', (5,20.05), layer=182, texttype=0))
lsmitll_ptlrx_v2p1.add(gdstk.Label('J3 M6 M5', (25,35), layer=182, texttype=0))
lsmitll_ptlrx_v2p1.add(gdstk.Label('PB3 M6 M4', (25,50), layer=182, texttype=0))
lsmitll_ptlrx_v2p1.add(gdstk.Label('a', (15,55), layer=182, texttype=0))
lsmitll_ptlrx_v2p1.add(gdstk.Label('bias_in', (0,65), layer=182, texttype=0))
lsmitll_ptlrx_v2p1.add(gdstk.Label('bias_out', (40,65), layer=182, texttype=0))
lsmitll_ptlrx_v2p1.add(gdstk.Label('VDD', (3.336,66.186), layer=1, texttype=1))
lsmitll_ptlrx_v2p1.add(gdstk.Label('GND', (4.534,67.233), layer=40, texttype=1))
lsmitll_ptlrx_v2p1.add(gdstk.Label('q', (39.939,34.062), layer=60, texttype=1))
lsmitll_ptlrx_v2p1.add(gdstk.Label('a', (15.022,54.978), layer=60, texttype=1))
lsmitll_ptlrx_v2p1.add(gdstk.Label('RIB1', (5.026,55.082), layer=52, texttype=1))
lsmitll_ptlrx_v2p1.add(gdstk.Label('RIB2', (4.892,14.965), layer=52, texttype=1))
lsmitll_ptlrx_v2p1.add(gdstk.Label('RIB3', (25.071,54.586), layer=52, texttype=1))
lsmitll_ptlrx_v2p1.add(gdstk.Label('RB1', (18.1,44.928), layer=52, texttype=1))
lsmitll_ptlrx_v2p1.add(gdstk.Label('RB2', (18.067,24.912), layer=52, texttype=1))
lsmitll_ptlrx_v2p1.add(gdstk.Label('RB3', (21.925,35.02), layer=52, texttype=1))

lib.write_gds('LSmitll_PTLRX_v2p1.gds')
